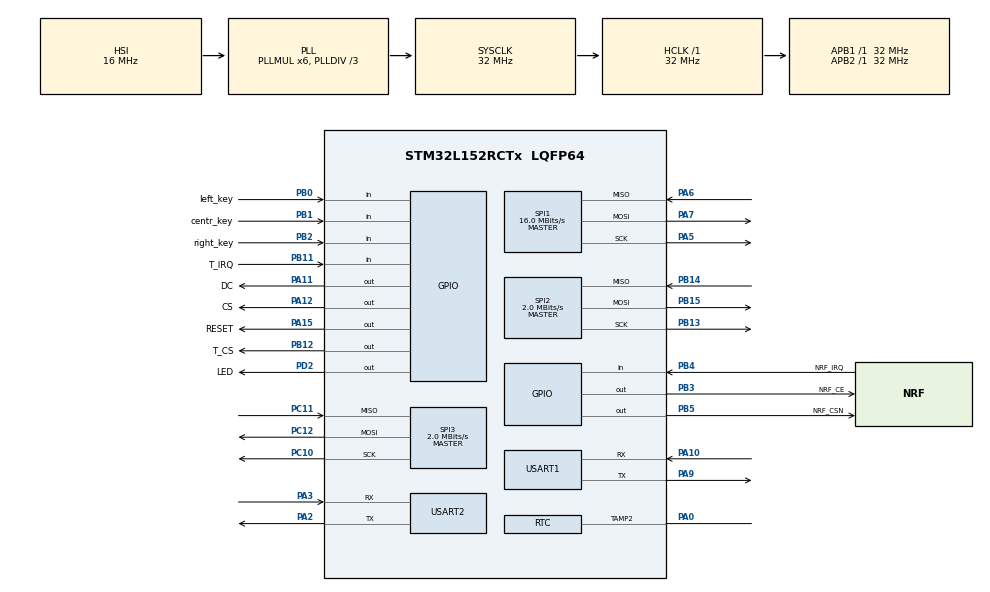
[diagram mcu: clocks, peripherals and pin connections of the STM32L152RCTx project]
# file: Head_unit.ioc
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Mcu.Family=STM32L1
Mcu.Name=STM32L152RCTx
Mcu.Package=LQFP64
NVIC.PriorityGroup=NVIC_PRIORITYGROUP_4
NVIC.TIM2_IRQn=true\:0\:0\:false\:false\:true\:true\:true\:true
PA0-WKUP1.Mode=Tamper 2 enabled - Input Enabled to TAMP2
PA0-WKUP1.Signal=RTC_TAMP2
PA10.Mode=Asynchronous
PA10.Signal=USART1_RX
PA11.GPIO_Label=DC
PA11.GPIO_Speed=GPIO_SPEED_FREQ_VERY_HIGH
PA11.Signal=GPIO_Output
PA12.GPIO_Label=CS
PA12.GPIO_Speed=GPIO_SPEED_FREQ_VERY_HIGH
PA12.Signal=GPIO_Output
PA13.Mode=Serial_Wire
PA13.Signal=SYS_JTMS-SWDIO
PA14.Mode=Serial_Wire
PA14.Signal=SYS_JTCK-SWCLK
PA15.GPIO_Label=RESET
PA15.GPIO_Speed=GPIO_SPEED_FREQ_VERY_HIGH
PA15.Signal=GPIO_Output
PA2.Mode=Asynchronous
PA2.Signal=USART2_TX
PA3.Mode=Asynchronous
PA3.Signal=USART2_RX
PA5.Mode=Full_Duplex_Master
PA5.Signal=SPI1_SCK
PA6.Mode=Full_Duplex_Master
PA6.Signal=SPI1_MISO
PA7.Mode=Full_Duplex_Master
PA7.Signal=SPI1_MOSI
PA9.Mode=Asynchronous
PA9.Signal=USART1_TX
PB0.GPIO_Label=left_key
PB0.GPIO_PuPd=GPIO_PULLUP
PB0.Signal=GPIO_Input
PB1.GPIO_Label=centr_key
PB1.GPIO_PuPd=GPIO_PULLUP
PB1.Signal=GPIO_Input
PB11.GPIO_Label=T_IRQ
PB11.Signal=GPIO_Input
PB12.GPIO_Label=T_CS
PB12.GPIO_Speed=GPIO_SPEED_FREQ_VERY_HIGH
PB12.Signal=GPIO_Output
PB13.Mode=Full_Duplex_Master
PB13.Signal=SPI2_SCK
PB14.Mode=Full_Duplex_Master
PB14.Signal=SPI2_MISO
PB15.Mode=Full_Duplex_Master
PB15.Signal=SPI2_MOSI
PB2.GPIO_Label=right_key
PB2.GPIO_PuPd=GPIO_PULLUP
PB2.Signal=GPIO_Input
PB3.GPIO_Label=NRF_CE
PB3.GPIO_Speed=GPIO_SPEED_FREQ_MEDIUM
PB3.Signal=GPIO_Output
PB4.GPIO_Label=NRF_IRQ
PB4.Signal=GPIO_Input
PB5.GPIO_Label=NRF_CSN
PB5.GPIO_Speed=GPIO_SPEED_FREQ_MEDIUM
PB5.Signal=GPIO_Output
PC10.Mode=Full_Duplex_Master
PC10.Signal=SPI3_SCK
PC11.Mode=Full_Duplex_Master
PC11.Signal=SPI3_MISO
PC12.Mode=Full_Duplex_Master
PC12.Signal=SPI3_MOSI
PC14-OSC32_IN.Mode=LSE-External-Oscillator
PC14-OSC32_IN.Signal=RCC_OSC32_IN
PC15-OSC32_OUT.Mode=LSE-External-Oscillator
PC15-OSC32_OUT.Signal=RCC_OSC32_OUT
PD2.GPIO_Label=LED
PD2.GPIO_Speed=GPIO_SPEED_FREQ_VERY_HIGH
PD2.Signal=GPIO_Output
ProjectManager.HeapSize=0x400
ProjectManager.StackSize=0x800
ProjectManager.TargetToolchain=STM32CubeIDE
RCC.48MHZClocksFreq_Value=48000000
RCC.AHBFreq_Value=32000000
RCC.APB1Freq_Value=32000000
RCC.APB1TimFreq_Value=32000000
RCC.APB2Freq_Value=32000000
RCC.APB2TimFreq_Value=32000000
RCC.HCLKFreq_Value=32000000
RCC.HSE_VALUE=24000000
RCC.HSI_VALUE=16000000
RCC.MSI_VALUE=2097000
RCC.PLLDIV=RCC_PLL_DIV3
RCC.PLLMUL=RCC_PLL_MUL6
RCC.SYSCLKFreq_VALUE=32000000
RCC.SYSCLKSource=RCC_SYSCLKSOURCE_PLLCLK
RCC.VCOOutputFreq_Value=96000000
RTC.Format=RTC_FORMAT_BIN
SPI1.BaudRatePrescaler=SPI_BAUDRATEPRESCALER_2
SPI1.CalculateBaudRate=16.0 MBits/s
SPI1.Direction=SPI_DIRECTION_2LINES
SPI1.Mode=SPI_MODE_MASTER
SPI1.VirtualType=VM_MASTER
SPI2.BaudRatePrescaler=SPI_BAUDRATEPRESCALER_16
SPI2.CalculateBaudRate=2.0 MBits/s
SPI2.Direction=SPI_DIRECTION_2LINES
SPI2.Mode=SPI_MODE_MASTER
SPI2.VirtualType=VM_MASTER
SPI3.BaudRatePrescaler=SPI_BAUDRATEPRESCALER_16
SPI3.CalculateBaudRate=2.0 MBits/s
SPI3.Direction=SPI_DIRECTION_2LINES
SPI3.Mode=SPI_MODE_MASTER
SPI3.VirtualType=VM_MASTER
TIM2.Period=1000-1
TIM2.Prescaler=32000-1
TIM3.Prescaler=31
USART1.VirtualMode=VM_ASYNC
USART2.VirtualMode=VM_ASYNC
VP_RTC_VS_RTC_Activate.Mode=RTC_Enabled
VP_RTC_VS_RTC_Calendar.Mode=RTC_Calendar
VP_TIM2_VS_ClockSourceINT.Mode=Internal
VP_TIM3_VS_ClockSourceINT.Mode=Internal
board=custom

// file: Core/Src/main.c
/* USER CODE BEGIN Header */
/**
 ******************************************************************************
 * @file           : main.c
 * @brief          : Main program body
 ******************************************************************************
 * @attention
 *
 * Copyright (c) 2026 STMicroelectronics.
 * All rights reserved.
 *
 * This software is licensed under terms that can be found in the LICENSE file
 * in the root directory of this software component.
 * If no LICENSE file comes with this software, it is provided AS-IS.
 *
 ******************************************************************************
 */
/* USER CODE END Header */
#include "main.h"

/* USER CODE BEGIN Includes */
#include "string.h"
#include "stdio.h"
#include "ILI9341_GFX.h"
#include "fonts.h"
#include "xpt2046_touch.h"
#include "screen.h"
#include "nrf24.h"
#include "button.h"

/* USER CODE END Includes */

RTC_HandleTypeDef hrtc;

SPI_HandleTypeDef hspi1;
SPI_HandleTypeDef hspi2;
SPI_HandleTypeDef hspi3;

TIM_HandleTypeDef htim2;
TIM_HandleTypeDef htim3;

UART_HandleTypeDef huart1;
UART_HandleTypeDef huart2;

/* USER CODE BEGIN PV */
char str1[64] =
{ 0 };
volatile int g_timer_seconds = 60;				//Начальное значение таймера
volatile uint8_t reset_timer = 0;	//старт/стоп таймера
uint8_t timer_running = 0;   			//0 = стоп, 1 = работает
uint8_t btn_prev = 1;        			//предыдущее состояние кнопки
char lcd_buf[16];									//буфер значения таймера
uint16_t teams = 2;								//номер команды
uint16_t pressed_btn_team = 0;								//номер нажатой кнопки команды
uint16_t scores[8] =
{ 0 };						//количество очков команд [0-7]
uint16_t answer = 0;										//положительный или отрицательный ответ
uint8_t rx_data;									//номер нажатой кнопки передатчика
uint16_t falstart_enabled = 0;
uint8_t flag_press = 1;
uint32_t time_press = 0;
char buf[64] =
{ 0, };
uint16_t x = 0;
uint16_t y = 0;
uint16_t screen = 0;
uint16_t edit_score = 0;							//Признак редактирования счёта...
/* USER CODE END PV */

void SystemClock_Config(void);
static void MX_GPIO_Init(void);
static void MX_RTC_Init(void);
static void MX_SPI1_Init(void);
static void MX_SPI2_Init(void);
static void MX_SPI3_Init(void);
static void MX_USART1_UART_Init(void);
static void MX_USART2_UART_Init(void);
static void MX_TIM2_Init(void);
static void MX_TIM3_Init(void);

int main(void)
{

	/* USER CODE BEGIN 1 */
	edit_score = 0;

	/* USER CODE END 1 */

	/* MCU Configuration--------------------------------------------------------*/

	/* Reset of all peripherals, Initializes the Flash interface and the Systick. */
	HAL_Init();

	/* Configure the system clock */
	SystemClock_Config();

	/* Initialize all configured peripherals */
	MX_GPIO_Init();
	MX_RTC_Init();
	MX_SPI1_Init();
	MX_SPI2_Init();
	MX_SPI3_Init();
	MX_USART1_UART_Init();
	MX_USART2_UART_Init();
	MX_TIM2_Init();
	MX_TIM3_Init();
	/* USER CODE BEGIN 2 */
	__HAL_SPI_ENABLE(DISP_SPI_PTR);
	HAL_TIM_Base_Start_IT(&htim2);							//старт таймера обратного отсчёта
	HAL_TIM_Base_Start(&htim3);									//Таймер для микросекундных задержек
	ILI9341_Init();															//инициализация дисплея
	NRF24_ini();																//инициализация NRF24
	ILI9341_Set_Rotation(SCREEN_HORIZONTAL_2);	//установка ориентации экрана (варианты в файле ILI9341_GFX.h)
	screen_menu();															//старт глвного экрана
	/* USER CODE END 2 */

	/* Infinite loop */
	while (1)
	{

		/* USER CODE BEGIN 3 */
		if (g_timer_seconds == 0)
		{
			LED_TGL;
			g_timer_seconds = 60;
			timer_running = 0;																					//флаг остановки таймера
			HAL_TIM_Base_Stop_IT(&htim2);																		//Останавливаем таймер
			sprintf(lcd_buf, "%02d ", g_timer_seconds);
			ILI9341_WriteString(230, 25, lcd_buf, Font_16x26, RED, MYFON); 	// вывод показаний таймера
			reset_color();																//установка цвета комманд для сделующего вопроса.
			reset_falsstart();																						//сброс фальшстарта
		}
		Button_Press_handler(); 										//Обработчик сигналов с кнопок передатчиков
		Touchscreen_handler();						//Обработчик тачскрина

		//>>>>>>>>>>Обработчик нажатия кнопок. Для каждого экрана своя логика
		if (edit_score != 0)										//Если 0 тогда обрабатываем кнопки если иначе - пропускаем все кнопки
		{
			score_editing_handler();									//редактирование результата
		}
		else
		{

			if (Button_Read_left() && screen == 1 && timer_running == 1)
			{
				//обработка состояния таймера
				timer_running = 0;
				g_timer_seconds = 60; 											//Устанавливаем начальное время
				reset_timer = 1;										//Сброс таймера
				pressed_btn_team = rx_data;											//Фиксируем номер команды нажавшая кнопку
				answer = 1;																//Положительный или отрицательный ответ
				button_event_handler();							//Если ответ не верный-команда выбывает (цвет надписи команды чёрный)
				reset_color();											//установка цвета комманд для сделующего вопроса.
				reset_falsstart();
			}
			else if (Button_Read_left() && screen == 3)
			{
				//Код для экрана "эрудит"
			}
			if (Button_Read_right() && screen == 1 && timer_running == 1)
			{
				timer_running = 0;
				pressed_btn_team = rx_data;
				answer = 0;
				g_timer_seconds = 20; 											//Устанавливаем начальное время
				reset_timer = 1;										//Сброс таймера
				//ILI9341_WriteString(230, 25, lcd_buf, Font_16x26, RED, MYFON); // вывод показаний таймера
				button_event_handler();							//Если ответ не верный-команда выбывает (цвет надписи команды чёрный)
			}
			else if (Button_Read_left() && screen == 3)
			{
				//Код для экрана "эрудит"
			}
			if (Button_Read_centr() && screen == 1)
			{
				timer_running = 1;
				HAL_TIM_Base_Start_IT(&htim2);
			}
			else if (Button_Read_left() && screen == 3)
			{
				//Код для экрана "эрудит"
			}
		}

		//================== RTC =========================
		if (reset_timer)
		{
			reset_timer = 0;
			sprintf(lcd_buf, "%02d ", g_timer_seconds);
			if (screen == 1)
			{
				ILI9341_WriteString(230, 25, lcd_buf, Font_16x26, RED, MYFON); // вывод показаний таймера
			}
		}
		//=================END RTC =======================

	}
	/* USER CODE END 3 */
}

void SystemClock_Config(void)
{
	RCC_OscInitTypeDef RCC_OscInitStruct =
	{ 0 };
	RCC_ClkInitTypeDef RCC_ClkInitStruct =
	{ 0 };
	RCC_PeriphCLKInitTypeDef PeriphClkInit =
	{ 0 };

	/** Configure the main internal regulator output voltage
	 */
	__HAL_PWR_VOLTAGESCALING_CONFIG(PWR_REGULATOR_VOLTAGE_SCALE1);

	/** Initializes the RCC Oscillators according to the specified parameters
	 * in the RCC_OscInitTypeDef structure.
	 */
	RCC_OscInitStruct.OscillatorType = RCC_OSCILLATORTYPE_HSI | RCC_OSCILLATORTYPE_LSI;
	RCC_OscInitStruct.HSIState = RCC_HSI_ON;
	RCC_OscInitStruct.HSICalibrationValue = RCC_HSICALIBRATION_DEFAULT;
	RCC_OscInitStruct.LSIState = RCC_LSI_ON;
	RCC_OscInitStruct.PLL.PLLState = RCC_PLL_ON;
	RCC_OscInitStruct.PLL.PLLSource = RCC_PLLSOURCE_HSI;
	RCC_OscInitStruct.PLL.PLLMUL = RCC_PLL_MUL6;
	RCC_OscInitStruct.PLL.PLLDIV = RCC_PLL_DIV3;
	if (HAL_RCC_OscConfig(&RCC_OscInitStruct) != HAL_OK)
	{
		Error_Handler();
	}

	/** Initializes the CPU, AHB and APB buses clocks
	 */
	RCC_ClkInitStruct.ClockType = RCC_CLOCKTYPE_HCLK | RCC_CLOCKTYPE_SYSCLK | RCC_CLOCKTYPE_PCLK1 | RCC_CLOCKTYPE_PCLK2;
	RCC_ClkInitStruct.SYSCLKSource = RCC_SYSCLKSOURCE_PLLCLK;
	RCC_ClkInitStruct.AHBCLKDivider = RCC_SYSCLK_DIV1;
	RCC_ClkInitStruct.APB1CLKDivider = RCC_HCLK_DIV1;
	RCC_ClkInitStruct.APB2CLKDivider = RCC_HCLK_DIV1;

	if (HAL_RCC_ClockConfig(&RCC_ClkInitStruct, FLASH_LATENCY_1) != HAL_OK)
	{
		Error_Handler();
	}
	PeriphClkInit.PeriphClockSelection = RCC_PERIPHCLK_RTC;
	PeriphClkInit.RTCClockSelection = RCC_RTCCLKSOURCE_LSI;
	if (HAL_RCCEx_PeriphCLKConfig(&PeriphClkInit) != HAL_OK)
	{
		Error_Handler();
	}
}

static void MX_RTC_Init(void)
{

	RTC_TimeTypeDef sTime =
	{ 0 };
	RTC_DateTypeDef sDate =
	{ 0 };
	RTC_TamperTypeDef sTamper =
	{ 0 };

	/** Initialize RTC Only
	 */
	hrtc.Instance = RTC;
	hrtc.Init.HourFormat = RTC_HOURFORMAT_24;
	hrtc.Init.AsynchPrediv = 127;
	hrtc.Init.SynchPrediv = 255;
	hrtc.Init.OutPut = RTC_OUTPUT_DISABLE;
	hrtc.Init.OutPutPolarity = RTC_OUTPUT_POLARITY_HIGH;
	hrtc.Init.OutPutType = RTC_OUTPUT_TYPE_OPENDRAIN;
	if (HAL_RTC_Init(&hrtc) != HAL_OK)
	{
		Error_Handler();
	}

	/** Initialize RTC and set the Time and Date
	 */
	sTime.Hours = 0;
	sTime.Minutes = 0;
	sTime.Seconds = 0;
	sTime.DayLightSaving = RTC_DAYLIGHTSAVING_NONE;
	sTime.StoreOperation = RTC_STOREOPERATION_RESET;
	if (HAL_RTC_SetTime(&hrtc, &sTime, RTC_FORMAT_BIN) != HAL_OK)
	{
		Error_Handler();
	}
	sDate.WeekDay = RTC_WEEKDAY_MONDAY;
	sDate.Month = RTC_MONTH_JANUARY;
	sDate.Date = 1;
	sDate.Year = 0;

	if (HAL_RTC_SetDate(&hrtc, &sDate, RTC_FORMAT_BIN) != HAL_OK)
	{
		Error_Handler();
	}

	/** Enable the RTC Tamper 2
	 */
	sTamper.Tamper = RTC_TAMPER_2;
	sTamper.Trigger = RTC_TAMPERTRIGGER_RISINGEDGE;
	sTamper.Filter = RTC_TAMPERFILTER_DISABLE;
	sTamper.SamplingFrequency = RTC_TAMPERSAMPLINGFREQ_RTCCLK_DIV32768;
	sTamper.PrechargeDuration = RTC_TAMPERPRECHARGEDURATION_1RTCCLK;
	sTamper.TamperPullUp = RTC_TAMPER_PULLUP_ENABLE;
	sTamper.TimeStampOnTamperDetection = RTC_TIMESTAMPONTAMPERDETECTION_ENABLE;
	if (HAL_RTCEx_SetTamper(&hrtc, &sTamper) != HAL_OK)
	{
		Error_Handler();
	}

}

static void MX_SPI1_Init(void)
{

	/* SPI1 parameter configuration*/
	hspi1.Instance = SPI1;
	hspi1.Init.Mode = SPI_MODE_MASTER;
	hspi1.Init.Direction = SPI_DIRECTION_2LINES;
	hspi1.Init.DataSize = SPI_DATASIZE_8BIT;
	hspi1.Init.CLKPolarity = SPI_POLARITY_LOW;
	hspi1.Init.CLKPhase = SPI_PHASE_1EDGE;
	hspi1.Init.NSS = SPI_NSS_SOFT;
	hspi1.Init.BaudRatePrescaler = SPI_BAUDRATEPRESCALER_2;
	hspi1.Init.FirstBit = SPI_FIRSTBIT_MSB;
	hspi1.Init.TIMode = SPI_TIMODE_DISABLE;
	hspi1.Init.CRCCalculation = SPI_CRCCALCULATION_DISABLE;
	hspi1.Init.CRCPolynomial = 10;
	if (HAL_SPI_Init(&hspi1) != HAL_OK)
	{
		Error_Handler();
	}

}

static void MX_SPI2_Init(void)
{

	/* SPI2 parameter configuration*/
	hspi2.Instance = SPI2;
	hspi2.Init.Mode = SPI_MODE_MASTER;
	hspi2.Init.Direction = SPI_DIRECTION_2LINES;
	hspi2.Init.DataSize = SPI_DATASIZE_8BIT;
	hspi2.Init.CLKPolarity = SPI_POLARITY_LOW;
	hspi2.Init.CLKPhase = SPI_PHASE_1EDGE;
	hspi2.Init.NSS = SPI_NSS_SOFT;
	hspi2.Init.BaudRatePrescaler = SPI_BAUDRATEPRESCALER_16;
	hspi2.Init.FirstBit = SPI_FIRSTBIT_MSB;
	hspi2.Init.TIMode = SPI_TIMODE_DISABLE;
	hspi2.Init.CRCCalculation = SPI_CRCCALCULATION_DISABLE;
	hspi2.Init.CRCPolynomial = 10;
	if (HAL_SPI_Init(&hspi2) != HAL_OK)
	{
		Error_Handler();
	}

}

static void MX_SPI3_Init(void)
{

	/* SPI3 parameter configuration*/
	hspi3.Instance = SPI3;
	hspi3.Init.Mode = SPI_MODE_MASTER;
	hspi3.Init.Direction = SPI_DIRECTION_2LINES;
	hspi3.Init.DataSize = SPI_DATASIZE_8BIT;
	hspi3.Init.CLKPolarity = SPI_POLARITY_LOW;
	hspi3.Init.CLKPhase = SPI_PHASE_1EDGE;
	hspi3.Init.NSS = SPI_NSS_SOFT;
	hspi3.Init.BaudRatePrescaler = SPI_BAUDRATEPRESCALER_16;
	hspi3.Init.FirstBit = SPI_FIRSTBIT_MSB;
	hspi3.Init.TIMode = SPI_TIMODE_DISABLE;
	hspi3.Init.CRCCalculation = SPI_CRCCALCULATION_DISABLE;
	hspi3.Init.CRCPolynomial = 10;
	if (HAL_SPI_Init(&hspi3) != HAL_OK)
	{
		Error_Handler();
	}

}

static void MX_TIM2_Init(void)
{

	TIM_ClockConfigTypeDef sClockSourceConfig =
	{ 0 };
	TIM_MasterConfigTypeDef sMasterConfig =
	{ 0 };

	htim2.Instance = TIM2;
	htim2.Init.Prescaler = 32000 - 1;
	htim2.Init.CounterMode = TIM_COUNTERMODE_UP;
	htim2.Init.Period = 1000 - 1;
	htim2.Init.ClockDivision = TIM_CLOCKDIVISION_DIV1;
	htim2.Init.AutoReloadPreload = TIM_AUTORELOAD_PRELOAD_DISABLE;
	if (HAL_TIM_Base_Init(&htim2) != HAL_OK)
	{
		Error_Handler();
	}
	sClockSourceConfig.ClockSource = TIM_CLOCKSOURCE_INTERNAL;
	if (HAL_TIM_ConfigClockSource(&htim2, &sClockSourceConfig) != HAL_OK)
	{
		Error_Handler();
	}
	sMasterConfig.MasterOutputTrigger = TIM_TRGO_RESET;
	sMasterConfig.MasterSlaveMode = TIM_MASTERSLAVEMODE_DISABLE;
	if (HAL_TIMEx_MasterConfigSynchronization(&htim2, &sMasterConfig) != HAL_OK)
	{
		Error_Handler();
	}

}

static void MX_TIM3_Init(void)
{

	TIM_ClockConfigTypeDef sClockSourceConfig =
	{ 0 };
	TIM_MasterConfigTypeDef sMasterConfig =
	{ 0 };

	htim3.Instance = TIM3;
	htim3.Init.Prescaler = 31;
	htim3.Init.CounterMode = TIM_COUNTERMODE_UP;
	htim3.Init.Period = 65535;
	htim3.Init.ClockDivision = TIM_CLOCKDIVISION_DIV1;
	htim3.Init.AutoReloadPreload = TIM_AUTORELOAD_PRELOAD_DISABLE;
	if (HAL_TIM_Base_Init(&htim3) != HAL_OK)
	{
		Error_Handler();
	}
	sClockSourceConfig.ClockSource = TIM_CLOCKSOURCE_INTERNAL;
	if (HAL_TIM_ConfigClockSource(&htim3, &sClockSourceConfig) != HAL_OK)
	{
		Error_Handler();
	}
	sMasterConfig.MasterOutputTrigger = TIM_TRGO_RESET;
	sMasterConfig.MasterSlaveMode = TIM_MASTERSLAVEMODE_DISABLE;
	if (HAL_TIMEx_MasterConfigSynchronization(&htim3, &sMasterConfig) != HAL_OK)
	{
		Error_Handler();
	}

}

static void MX_USART1_UART_Init(void)
{

	huart1.Instance = USART1;
	huart1.Init.BaudRate = 115200;
	huart1.Init.WordLength = UART_WORDLENGTH_8B;
	huart1.Init.StopBits = UART_STOPBITS_1;
	huart1.Init.Parity = UART_PARITY_NONE;
	huart1.Init.Mode = UART_MODE_TX_RX;
	huart1.Init.HwFlowCtl = UART_HWCONTROL_NONE;
	huart1.Init.OverSampling = UART_OVERSAMPLING_16;
	if (HAL_UART_Init(&huart1) != HAL_OK)
	{
		Error_Handler();
	}

}

static void MX_USART2_UART_Init(void)
{

	huart2.Instance = USART2;
	huart2.Init.BaudRate = 115200;
	huart2.Init.WordLength = UART_WORDLENGTH_8B;
	huart2.Init.StopBits = UART_STOPBITS_1;
	huart2.Init.Parity = UART_PARITY_NONE;
	huart2.Init.Mode = UART_MODE_TX_RX;
	huart2.Init.HwFlowCtl = UART_HWCONTROL_NONE;
	huart2.Init.OverSampling = UART_OVERSAMPLING_16;
	if (HAL_UART_Init(&huart2) != HAL_OK)
	{
		Error_Handler();
	}

}

static void MX_GPIO_Init(void)
{
	GPIO_InitTypeDef GPIO_InitStruct =
	{ 0 };

	/* GPIO Ports Clock Enable */
	__HAL_RCC_GPIOC_CLK_ENABLE();
	__HAL_RCC_GPIOA_CLK_ENABLE();
	__HAL_RCC_GPIOB_CLK_ENABLE();
	__HAL_RCC_GPIOD_CLK_ENABLE();

	/*Configure GPIO pin Output Level */
	HAL_GPIO_WritePin(GPIOB, T_CS_Pin | NRF_CE_Pin | NRF_CSN_Pin, GPIO_PIN_RESET);

	/*Configure GPIO pin Output Level */
	HAL_GPIO_WritePin(GPIOA, DC_Pin | CS_Pin | RESET_Pin, GPIO_PIN_RESET);

	/*Configure GPIO pin Output Level */
	HAL_GPIO_WritePin(LED_GPIO_Port, LED_Pin, GPIO_PIN_RESET);

	/*Configure GPIO pins : left_key_Pin centr_key_Pin right_key_Pin */
	GPIO_InitStruct.Pin = left_key_Pin | centr_key_Pin | right_key_Pin;
	GPIO_InitStruct.Mode = GPIO_MODE_INPUT;
	GPIO_InitStruct.Pull = GPIO_PULLUP;
	HAL_GPIO_Init(GPIOB, &GPIO_InitStruct);

	/*Configure GPIO pins : T_IRQ_Pin NRF_IRQ_Pin */
	GPIO_InitStruct.Pin = T_IRQ_Pin | NRF_IRQ_Pin;
	GPIO_InitStruct.Mode = GPIO_MODE_INPUT;
	GPIO_InitStruct.Pull = GPIO_NOPULL;
	HAL_GPIO_Init(GPIOB, &GPIO_InitStruct);

	/*Configure GPIO pin : T_CS_Pin */
	GPIO_InitStruct.Pin = T_CS_Pin;
	GPIO_InitStruct.Mode = GPIO_MODE_OUTPUT_PP;
	GPIO_InitStruct.Pull = GPIO_NOPULL;
	GPIO_InitStruct.Speed = GPIO_SPEED_FREQ_VERY_HIGH;
	HAL_GPIO_Init(T_CS_GPIO_Port, &GPIO_InitStruct);

	/*Configure GPIO pins : DC_Pin CS_Pin RESET_Pin */
	GPIO_InitStruct.Pin = DC_Pin | CS_Pin | RESET_Pin;
	GPIO_InitStruct.Mode = GPIO_MODE_OUTPUT_PP;
	GPIO_InitStruct.Pull = GPIO_NOPULL;
	GPIO_InitStruct.Speed = GPIO_SPEED_FREQ_VERY_HIGH;
	HAL_GPIO_Init(GPIOA, &GPIO_InitStruct);

	/*Configure GPIO pin : LED_Pin */
	GPIO_InitStruct.Pin = LED_Pin;
	GPIO_InitStruct.Mode = GPIO_MODE_OUTPUT_PP;
	GPIO_InitStruct.Pull = GPIO_NOPULL;
	GPIO_InitStruct.Speed = GPIO_SPEED_FREQ_VERY_HIGH;
	HAL_GPIO_Init(LED_GPIO_Port, &GPIO_InitStruct);

	/*Configure GPIO pins : NRF_CE_Pin NRF_CSN_Pin */
	GPIO_InitStruct.Pin = NRF_CE_Pin | NRF_CSN_Pin;
	GPIO_InitStruct.Mode = GPIO_MODE_OUTPUT_PP;
	GPIO_InitStruct.Pull = GPIO_NOPULL;
	GPIO_InitStruct.Speed = GPIO_SPEED_FREQ_MEDIUM;
	HAL_GPIO_Init(GPIOB, &GPIO_InitStruct);

}

/* USER CODE BEGIN 4 */
void HAL_TIM_PeriodElapsedCallback(TIM_HandleTypeDef *htim)
{
	if (htim->Instance == TIM2)
	{
		if (timer_running)
		{
			if (g_timer_seconds > 0)
			{
				g_timer_seconds--;
			}
		}
		reset_timer = 1;
	}
}
/* USER CODE END 4 */

void Error_Handler(void)
{
	__disable_irq();
	while (1)
	{
	}
}
